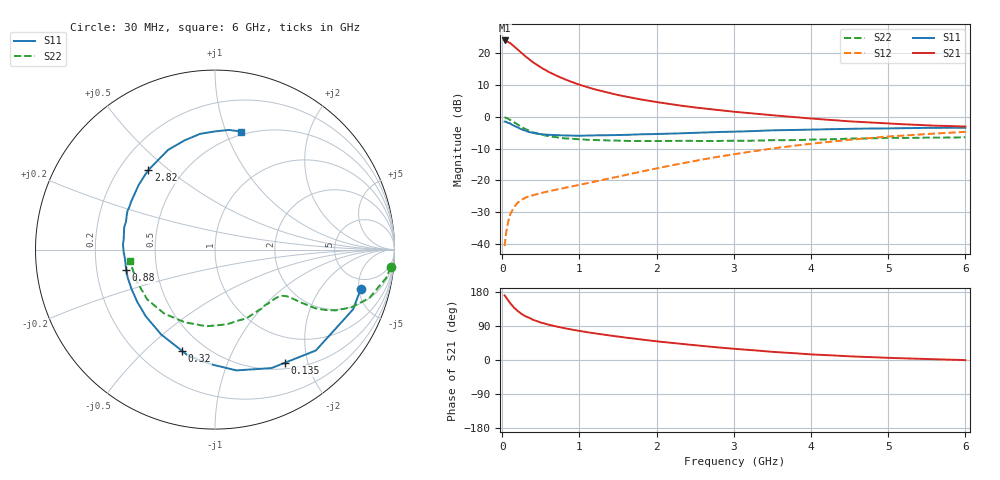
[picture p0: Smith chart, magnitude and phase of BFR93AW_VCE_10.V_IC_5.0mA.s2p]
! Infineon Technologies  Discrete & RF Semiconductors
! BFR93AW
! VCE =  10. V,  IC =  5.0 mA
! Common Emitter S-Parameters:  Nov 2015
# GHz  S  MA  R  50
!  f  S11  S21  S12  S22
! GHz  MAG  ANG  MAG  ANG  MAG  ANG  MAG  ANG
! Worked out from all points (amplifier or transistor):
!   206 points, 30 MHz to 6 GHz, reference 50 ohm
!   highest |S21| = 24.0 dB at 30 MHz (marker M1)
!   |S21| within 3 dB of that: start of sweep to 207 MHz
!   unconditionally stable (mu >= 1): 953 MHz to 2.207 GHz
!   at 200 MHz: K = 0.30, MSG = 24.1 dB, |S12| = -27.0 dB
!   at 1.56 GHz: K = 1.09, MAG = 10.6 dB, |S12| = -18.5 dB
!   at 6 GHz: K = 0.91, MSG = 0.8 dB, |S12| = -4.7 dB
!   S11 on the Smith chart (normalised r, x): 30 MHz: 3.54, -5.28; 135 MHz: 0.59, -1.64; 320 MHz: 0.38, -0.66; 880 MHz: 0.33, -0.10; 2.82 GHz: 0.32, +0.43; 6 GHz: 0.47, +1.13
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0.03  0.8412 -15.0  15.83 170.6  0.0093 82.7  0.9839 -5.7
0.05  0.8384 -23.4  15.58 164.3  0.0152 78.1  0.967 -9.4
0.1  0.7947 -45.0  14.48 150.4  0.029 67.0  0.9022 -17.3
0.135  0.741 -58.3  13.3 142.3  0.0351 61.2  0.8467 -21.2
0.15  0.7314 -64.5  12.88 138.4  0.0378 59.3  0.8242 -23.0
0.2  0.6837 -79.9  11.41 129.1  0.0449 54.6  0.7534 -26.7
0.24  0.6431 -90.5  10.29 123.1  0.0486 51.3  0.7026 -28.6
0.3  0.6077 -104.6  8.907 115.4  0.0539 48.5  0.6422 -30.4
0.32  0.5939 -107.9  8.54 113.8  0.0549 48.0  0.6279 -30.6
0.4  0.5601 -122.3  7.156 105.9  0.0588 46.4  0.5709 -31.5
0.5  0.5357 -136.0  5.972 98.7  0.0635 46.3  0.5255 -32.0
0.6  0.522 -146.1  5.081 93.1  0.0678 47.5  0.4974 -32.4
0.68  0.5148 -153.0  4.564 89.4  0.071 49.0  0.4813 -32.9
0.88  0.5073 -166.9  3.601 81.1  0.0795 52.8  0.4535 -34.6
1.04  0.5056 -175.7  3.085 75.4  0.0875 55.8  0.4404 -36.7
1.5  0.5208 166.1  2.199 61.8  0.1152 63.2  0.4226 -44.9
2.02  0.5389 149.7  1.691 48.8  0.1565 67.3  0.4168 -56.7
2.82  0.5784 129.9  1.269 32.8  0.2386 66.6  0.4184 -76.6
3.1  0.5887 123.4  1.172 28.1  0.2694 64.8  0.4208 -84.1
4.1  0.6343 103.9  0.922 13.9  0.3893 55.1  0.4393 -116.1
5.1  0.6603 88.6  0.774 5.0  0.4992 42.1  0.4668 -146.8
6  0.6736 77.5  0.704 -0.3  0.5803 30.4  0.4781 -172.5
